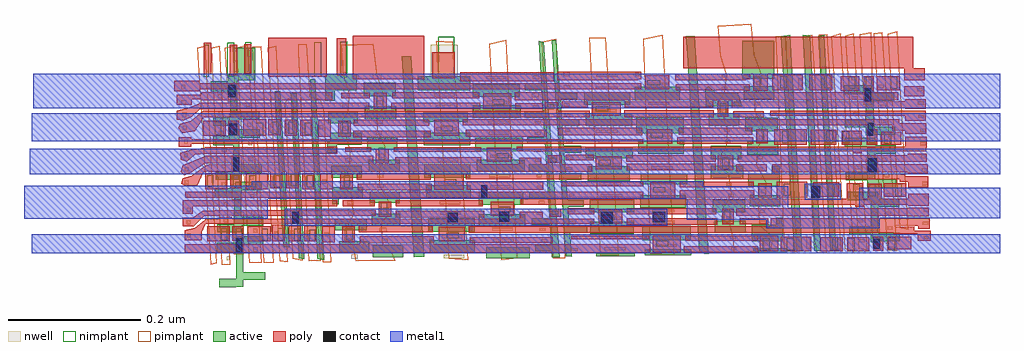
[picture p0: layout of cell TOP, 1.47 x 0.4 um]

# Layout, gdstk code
import gdstk
lib = gdstk.Library(unit=1e-6, precision=1e-09)
def R(c, l, rs):  # rectangles x0, y0, x1, y1
    for r in rs: c.add(gdstk.rectangle(r[:2], r[2:], *l))
def P(c, l, *ps):  # polygons
    for p in ps: c.add(gdstk.Polygon(p, *l))
active = (1, 0)
nwell = (2, 0)
poly = (3, 0)
nimplant = (4, 0)
pimplant = (5, 0)
contact = (6, 0)
metal1 = (7, 0)

top = lib.new_cell('TOP')
R(top, active, [(0.49,-0.391,0.516,-0.378), (0.516,-0.39,0.526,-0.338), (0.526,-0.38,0.559,-0.368), (0.892,-0.347,0.958,-0.331), (0.721,-0.346,0.767,-0.328), (1.058,-0.344,1.116,-0.34), (1.131,-0.343,1.201,-0.334), (0.807,-0.339,0.875,-0.32), (1.294,-0.339,1.345,-0.332), (0.486,-0.338,0.526,-0.324), (0.671,-0.338,0.716,-0.322), (0.966,-0.337,0.999,-0.327), (0.517,-0.327,0.556,-0.314), (1.471,-0.323,1.483,-0.26), (1.292,-0.322,1.339,-0.297), (1.48,-0.322,1.488,-0.316), (1.483,-0.322,1.515,-0.309), (1.127,-0.32,1.2,-0.298), (1.439,-0.311,1.471,-0.299), (1.049,-0.31,1.114,-0.292), (1.011,-0.309,1.044,-0.299), (1.236,-0.309,1.283,-0.291), (0.487,-0.308,0.513,-0.296), (0.513,-0.308,0.523,-0.256), (0.805,-0.307,0.875,-0.287), (0.664,-0.305,0.712,-0.288), (1.329,-0.301,1.338,-0.286), (0.523,-0.298,0.556,-0.285), (0.72,-0.298,0.763,-0.28), (0.881,-0.298,0.951,-0.281), (0.961,-0.297,0.994,-0.287), (1.048,-0.278,1.115,-0.259), (1.233,-0.278,1.282,-0.259), (1.124,-0.271,1.193,-0.252), (1.007,-0.27,1.039,-0.26), (1.483,-0.27,1.514,-0.258), (1.289,-0.269,1.335,-0.252), (0.881,-0.267,0.948,-0.247), (0.66,-0.266,0.67,-0.24), (0.717,-0.264,0.762,-0.247), (1.437,-0.26,1.483,-0.247), (0.663,-0.257,0.706,-0.24), (0.802,-0.257,0.869,-0.237), (0.957,-0.257,0.989,-0.247), (0.483,-0.256,0.523,-0.242), (0.514,-0.245,0.554,-0.232), (1.466,-0.242,1.478,-0.179), (1.478,-0.241,1.51,-0.228), (1.287,-0.239,1.334,-0.22), (1.125,-0.236,1.195,-0.22), (1.045,-0.231,1.108,-0.209), (1.434,-0.23,1.466,-0.218), (0.485,-0.229,0.511,-0.217), (0.511,-0.229,0.52,-0.177), (1.002,-0.229,1.035,-0.219), (1.23,-0.228,1.279,-0.208), (0.659,-0.226,0.705,-0.208), (0.799,-0.226,0.868,-0.206), (1.322,-0.223,1.334,-0.208), (0.52,-0.219,0.554,-0.206), (0.715,-0.217,0.762,-0.199), (0.878,-0.216,0.95,-0.199), (0.956,-0.216,0.989,-0.206), (1.23,-0.198,1.276,-0.178), (1.042,-0.197,1.113,-0.18), (1.285,-0.191,1.332,-0.171), (1.121,-0.19,1.19,-0.171), (1.478,-0.19,1.509,-0.177), (0.653,-0.188,0.667,-0.172), (1.002,-0.188,1.035,-0.178), (0.876,-0.186,0.947,-0.166), (0.713,-0.184,0.758,-0.166), (1.432,-0.179,1.478,-0.166), (0.481,-0.177,0.52,-0.163), (0.798,-0.177,0.868,-0.158), (0.657,-0.176,0.705,-0.158), (0.954,-0.175,0.987,-0.165), (0.511,-0.166,0.551,-0.153), (1.464,-0.162,1.476,-0.1), (1.476,-0.161,1.508,-0.149), (1.118,-0.159,1.19,-0.136), (1.282,-0.156,1.331,-0.136), (1.432,-0.15,1.464,-0.139), (0.481,-0.148,0.507,-0.136), (0.507,-0.148,0.517,-0.096), (1,-0.148,1.032,-0.138), (1.042,-0.148,1.112,-0.129), (1.227,-0.148,1.273,-0.129), (0.654,-0.144,0.699,-0.125), (0.797,-0.142,0.864,-0.127), (0.517,-0.138,0.55,-0.125), (0.709,-0.137,0.757,-0.118), (0.872,-0.136,0.944,-0.117), (0.95,-0.136,0.983,-0.126), (1.04,-0.116,1.109,-0.097), (0.65,-0.11,0.664,-0.07), (1.476,-0.11,1.507,-0.098), (1.116,-0.109,1.184,-0.089), (0.996,-0.108,1.029,-0.098), (1.28,-0.108,1.326,-0.088), (0.872,-0.104,0.943,-0.085), (0.708,-0.103,0.756,-0.083), (1.431,-0.1,1.476,-0.087), (0.477,-0.096,0.517,-0.081), (0.655,-0.094,0.697,-0.07), (0.789,-0.094,0.868,-0.073), (0.95,-0.094,0.982,-0.084), (0.504,-0.085,0.517,-0.071), (0.512,-0.079,0.544,-0.03), (1.278,-0.077,1.326,-0.02)])
P(top, active, [(0.586,-0.32),(0.574,-0.102),(0.574,-0.096),(0.582,-0.095),(0.595,-0.32)],
  [(0.587,-0.331),(0.586,-0.32),(0.595,-0.319),(0.596,-0.331)],
  [(0.618,-0.349),(0.61,-0.347),(0.598,-0.101),(0.597,-0.099),(0.607,-0.099)],
  [(0.648,-0.35),(0.638,-0.348),(0.627,-0.078),(0.635,-0.078)],
  [(0.783,-0.346),(0.765,-0.043),(0.779,-0.043),(0.799,-0.345)],
  [(0.991,-0.346),(0.971,-0.02),(0.979,-0.022),(1.003,-0.346)],
  [(1.021,-0.345),(1.012,-0.344),(0.991,-0.019),(0.998,-0.019)],
  [(1.227,-0.341),(1.213,-0.34),(1.195,-0.039),(1.193,-0.013),(1.206,-0.013)],
  [(1.356,-0.337),(1.336,-0.013),(1.35,-0.011),(1.368,-0.337)],
  [(1.386,-0.336),(1.369,-0.011),(1.38,-0.012),(1.396,-0.336)],
  [(1.41,-0.336),(1.392,-0.013),(1.401,-0.011),(1.419,-0.336)],
  [(1.223,-0.119),(1.222,-0.092),(1.224,-0.092),(1.224,-0.09),(1.227,-0.088),(1.238,-0.098),(1.271,-0.097),(1.278,-0.118)])
R(top, nwell, [(0.501,-0.35,0.507,-0.344), (0.689,-0.348,0.699,-0.341), (0.828,-0.347,0.859,-0.342), (1.132,-0.339,1.138,-0.335), (0.541,-0.338,0.548,-0.331), (1.191,-0.338,1.198,-0.334), (1.021,-0.336,1.03,-0.332), (1.07,-0.335,1.102,-0.331), (1.261,-0.335,1.269,-0.331), (1.294,-0.335,1.299,-0.33), (1.421,-0.335,1.427,-0.318), (1.499,-0.334,1.507,-0.33), (1.374,-0.333,1.38,-0.316), (1.147,-0.33,1.179,-0.326), (1.309,-0.328,1.317,-0.324), (0.703,-0.324,0.708,-0.319), (0.735,-0.324,0.744,-0.318), (0.806,-0.323,0.811,-0.318), (0.903,-0.323,0.934,-0.318), (0.975,-0.323,0.984,-0.319), (1.454,-0.323,1.462,-0.319), (0.868,-0.322,0.873,-0.317), (1.48,-0.322,1.487,-0.316), (0.498,-0.321,0.504,-0.315), (0.573,-0.319,0.579,-0.307), (0.597,-0.319,0.603,-0.306), (1.021,-0.319,1.029,-0.314), (1.192,-0.319,1.197,-0.314), (1.295,-0.319,1.3,-0.313), (0.621,-0.318,0.627,-0.306), (0.683,-0.318,0.693,-0.311), (1.07,-0.318,1.102,-0.314), (1.13,-0.318,1.135,-0.314), (1.26,-0.318,1.268,-0.313), (1.551,-0.318,1.559,-0.314), (0.825,-0.317,0.856,-0.312), (0.441,-0.316,0.447,-0.31), (0.649,-0.314,0.655,-0.308), (0.541,-0.309,0.547,-0.303), (0.732,-0.308,0.742,-0.301), (0.703,-0.306,0.707,-0.301), (0.867,-0.306,0.872,-0.301), (0.901,-0.306,0.932,-0.301), (0.973,-0.306,0.981,-0.302), (0.806,-0.305,0.811,-0.3), (1.496,-0.304,1.504,-0.299), (1.55,-0.297,1.558,-0.292), (0.441,-0.296,0.447,-0.29), (1.018,-0.296,1.027,-0.291), (1.048,-0.296,1.053,-0.291), (1.234,-0.296,1.24,-0.292), (1.11,-0.295,1.115,-0.29), (1.144,-0.295,1.176,-0.291), (1.279,-0.295,1.283,-0.291), (1.305,-0.295,1.314,-0.291), (1.33,-0.295,1.334,-0.29), (0.497,-0.293,0.503,-0.287), (1.452,-0.293,1.46,-0.289), (1.066,-0.289,1.098,-0.285), (1.254,-0.288,1.262,-0.284), (0.944,-0.286,0.949,-0.281), (0.882,-0.285,0.887,-0.281), (1,-0.285,1.005,-0.275), (0.684,-0.283,0.694,-0.277), (0.719,-0.283,0.724,-0.278), (0.538,-0.282,0.544,-0.276), (0.757,-0.282,0.761,-0.277), (0.823,-0.282,0.854,-0.277), (0.968,-0.282,0.977,-0.278), (1.494,-0.281,1.502,-0.277), (1.047,-0.279,1.052,-0.274), (1.276,-0.279,1.28,-0.275), (1.304,-0.279,1.312,-0.274), (1.017,-0.278,1.026,-0.274), (1.11,-0.278,1.115,-0.273), (1.142,-0.278,1.175,-0.274), (1.232,-0.278,1.238,-0.273), (0.441,-0.277,0.447,-0.271), (0.736,-0.277,0.746,-0.271), (0.9,-0.277,0.931,-0.272), (1.551,-0.277,1.559,-0.272), (1.451,-0.27,1.459,-0.266), (0.497,-0.269,0.503,-0.263), (0.683,-0.267,0.693,-0.261), (0.717,-0.267,0.722,-0.262), (0.66,-0.266,0.666,-0.26), (0.822,-0.266,0.853,-0.261), (0.971,-0.266,0.98,-0.261), (0.757,-0.265,0.761,-0.26), (0.881,-0.265,0.886,-0.26), (0.943,-0.265,0.948,-0.26), (0.537,-0.257,0.543,-0.251), (1.551,-0.257,1.559,-0.253), (0.441,-0.256,0.447,-0.25), (1.124,-0.256,1.129,-0.251), (1.29,-0.256,1.296,-0.251), (1.065,-0.255,1.097,-0.251), (1.187,-0.255,1.192,-0.25), (1.257,-0.255,1.265,-0.25), (1.017,-0.254,1.025,-0.25), (1.417,-0.253,1.423,-0.236), (1.493,-0.253,1.501,-0.249), (1.371,-0.252,1.377,-0.235), (1.306,-0.249,1.314,-0.244), (1.143,-0.248,1.176,-0.244), (0.699,-0.245,0.707,-0.24), (0.801,-0.244,0.809,-0.238), (0.863,-0.244,0.868,-0.239), (1.45,-0.243,1.458,-0.238), (0.898,-0.242,0.928,-0.237), (0.968,-0.242,0.977,-0.238), (1.477,-0.242,1.484,-0.236), (0.728,-0.241,0.738,-0.235), (0.494,-0.239,0.5,-0.233), (1.015,-0.238,1.024,-0.234), (1.254,-0.238,1.262,-0.234), (1.288,-0.238,1.293,-0.232), (0.57,-0.237,0.576,-0.224), (0.593,-0.237,0.599,-0.224), (0.615,-0.237,0.621,-0.224), (0.678,-0.237,0.688,-0.23), (1.063,-0.237,1.095,-0.233), (1.549,-0.237,1.557,-0.232), (0.438,-0.236,0.444,-0.23), (0.82,-0.236,0.851,-0.231), (1.124,-0.236,1.129,-0.233), (1.186,-0.236,1.191,-0.233), (0.645,-0.235,0.651,-0.228), (0.536,-0.229,0.542,-0.223), (0.51,-0.227,0.518,-0.221), (0.698,-0.227,0.705,-0.22), (0.799,-0.227,0.806,-0.22), (0.728,-0.226,0.737,-0.22), (0.897,-0.226,0.928,-0.221), (0.861,-0.225,0.866,-0.22), (0.968,-0.225,0.976,-0.221), (1.491,-0.225,1.499,-0.22), (1.548,-0.217,1.556,-0.212), (0.438,-0.216,0.444,-0.21), (1.044,-0.215,1.05,-0.21), (1.105,-0.215,1.112,-0.211), (1.23,-0.215,1.237,-0.21), (1.325,-0.215,1.332,-0.211), (1.013,-0.214,1.022,-0.21), (1.27,-0.214,1.277,-0.211), (1.301,-0.214,1.309,-0.21), (1.141,-0.213,1.173,-0.209), (1.448,-0.213,1.457,-0.208), (0.494,-0.212,0.5,-0.206), (1.06,-0.208,1.093,-0.204), (1.251,-0.207,1.259,-0.202), (0.943,-0.205,0.948,-0.2), (0.714,-0.204,0.72,-0.198), (0.755,-0.204,0.761,-0.199), (0.88,-0.204,0.885,-0.199), (0.994,-0.203,0.999,-0.193), (0.68,-0.202,0.69,-0.196), (0.819,-0.202,0.85,-0.197), (0.965,-0.202,0.974,-0.198), (0.534,-0.201,0.541,-0.195), (1.488,-0.201,1.496,-0.196), (1.014,-0.198,1.023,-0.194), (1.139,-0.198,1.172,-0.194), (1.301,-0.198,1.309,-0.193), (1.045,-0.197,1.052,-0.192), (1.105,-0.197,1.111,-0.193), (1.234,-0.197,1.238,-0.193), (1.547,-0.197,1.555,-0.192), (0.732,-0.196,0.741,-0.19), (0.898,-0.196,0.928,-0.191), (1.271,-0.196,1.278,-0.193), (0.437,-0.195,0.443,-0.189), (1.447,-0.189,1.455,-0.185), (0.494,-0.187,0.501,-0.181), (0.68,-0.187,0.69,-0.181), (0.712,-0.186,0.717,-0.181), (0.754,-0.186,0.76,-0.181), (0.818,-0.186,0.849,-0.181), (0.966,-0.186,0.975,-0.182), (0.655,-0.185,0.662,-0.18), (0.879,-0.185,0.885,-0.18), (0.938,-0.185,0.946,-0.18), (0.534,-0.177,0.54,-0.17), (1.546,-0.177,1.554,-0.172), (1.184,-0.176,1.191,-0.169), (1.286,-0.176,1.292,-0.17), (0.437,-0.175,0.443,-0.169), (1.061,-0.174,1.093,-0.17), (1.121,-0.174,1.126,-0.169), (1.252,-0.174,1.26,-0.169), (1.013,-0.173,1.022,-0.168), (1.489,-0.173,1.497,-0.168), (1.366,-0.172,1.372,-0.155), (1.414,-0.172,1.42,-0.155), (1.303,-0.168,1.312,-0.163), (1.138,-0.167,1.17,-0.163), (0.694,-0.164,0.705,-0.158), (0.798,-0.164,0.806,-0.157), (0.862,-0.163,0.866,-0.158), (1.472,-0.162,1.481,-0.154), (0.489,-0.161,0.496,-0.155), (0.726,-0.161,0.735,-0.155), (0.896,-0.161,0.927,-0.156), (0.965,-0.161,0.974,-0.157), (1.446,-0.16,1.454,-0.155), (0.566,-0.158,0.572,-0.145), (0.59,-0.158,0.596,-0.145), (0.614,-0.158,0.62,-0.146), (1.057,-0.158,1.09,-0.154), (1.011,-0.157,1.019,-0.153), (1.181,-0.157,1.188,-0.152), (1.251,-0.157,1.259,-0.153), (1.546,-0.157,1.554,-0.152), (1.119,-0.156,1.127,-0.151), (1.285,-0.156,1.292,-0.151), (0.676,-0.155,0.686,-0.148), (0.817,-0.155,0.848,-0.15), (0.435,-0.154,0.441,-0.148), (0.641,-0.153,0.647,-0.147), (0.532,-0.149,0.538,-0.143), (0.726,-0.145,0.736,-0.139), (0.895,-0.145,0.926,-0.14), (0.965,-0.145,0.974,-0.141), (0.694,-0.144,0.699,-0.139), (1.487,-0.144,1.495,-0.139), (0.798,-0.143,0.804,-0.138), (0.858,-0.143,0.864,-0.139), (1.543,-0.136,1.552,-0.132), (0.434,-0.135,0.44,-0.128), (1.102,-0.135,1.109,-0.13), (1.266,-0.135,1.271,-0.129), (1.01,-0.134,1.019,-0.13), (1.04,-0.133,1.045,-0.128), (1.137,-0.133,1.169,-0.129), (1.298,-0.133,1.306,-0.128), (1.323,-0.133,1.332,-0.128), (0.489,-0.132,0.495,-0.126), (1.446,-0.132,1.454,-0.127), (1.246,-0.128,1.255,-0.123), (1.055,-0.127,1.088,-0.123), (0.988,-0.123,0.993,-0.114), (0.709,-0.122,0.715,-0.116), (0.752,-0.122,0.756,-0.118), (0.874,-0.122,0.88,-0.118), (0.936,-0.122,0.944,-0.118), (0.675,-0.121,0.685,-0.115), (0.816,-0.121,0.847,-0.116), (0.962,-0.121,0.971,-0.117), (1.486,-0.121,1.494,-0.116), (0.53,-0.119,0.537,-0.113), (1.009,-0.118,1.018,-0.114), (1.265,-0.117,1.273,-0.112), (1.297,-0.117,1.305,-0.112), (1.039,-0.116,1.044,-0.111), (1.101,-0.116,1.108,-0.112), (1.136,-0.116,1.168,-0.112), (1.542,-0.116,1.551,-0.111), (0.433,-0.115,0.44,-0.109), (0.726,-0.115,0.736,-0.109), (0.893,-0.115,0.924,-0.11), (1.443,-0.108,1.452,-0.103), (0.488,-0.106,0.494,-0.1), (0.937,-0.105,0.942,-0.099), (0.961,-0.105,0.971,-0.098), (0.675,-0.104,0.684,-0.098), (0.814,-0.104,0.845,-0.099), (0.874,-0.104,0.88,-0.1), (0.651,-0.103,0.656,-0.098), (0.709,-0.102,0.713,-0.098), (0.751,-0.102,0.755,-0.098), (1.541,-0.096,1.55,-0.091), (1.178,-0.095,1.185,-0.09), (1.281,-0.094,1.288,-0.09), (0.433,-0.093,0.439,-0.086), (0.53,-0.093,0.536,-0.087), (1.009,-0.093,1.019,-0.087), (1.057,-0.093,1.09,-0.089), (1.116,-0.093,1.122,-0.089), (1.247,-0.093,1.255,-0.089), (1.362,-0.093,1.368,-0.076), (1.41,-0.091,1.416,-0.074), (1.483,-0.091,1.491,-0.086), (1.134,-0.086,1.167,-0.083), (1.299,-0.086,1.307,-0.081), (0.859,-0.081,0.866,-0.075), (0.794,-0.079,0.803,-0.074), (1.442,-0.079,1.45,-0.074), (1.468,-0.079,1.475,-0.074), (0.692,-0.078,0.7,-0.071), (0.721,-0.078,0.734,-0.07), (0.892,-0.078,0.922,-0.073), (0.962,-0.078,0.972,-0.072), (1.28,-0.077,1.289,-0.071), (1.247,-0.075,1.255,-0.071), (1.058,-0.074,1.09,-0.07), (1.178,-0.074,1.183,-0.07), (1.54,-0.074,1.548,-0.069), (1.008,-0.073,1.018,-0.067), (1.117,-0.073,1.123,-0.068), (0.809,-0.072,0.849,-0.026), (0.674,-0.068,0.682,-0.026)])
R(top, poly, [(0.438,-0.339,1.139,-0.326), (1.143,-0.338,1.185,-0.313), (1.19,-0.338,1.302,-0.329), (1.304,-0.337,1.332,-0.313), (1.336,-0.337,1.382,-0.315), (1.395,-0.337,1.429,-0.316), (1.436,-0.337,1.469,-0.316), (1.475,-0.336,1.49,-0.315), (1.497,-0.334,1.532,-0.315), (0.702,-0.325,0.813,-0.314), (0.867,-0.324,0.992,-0.316), (0.645,-0.323,0.664,-0.299), (0.675,-0.323,0.694,-0.299), (0.472,-0.322,0.506,-0.299), (0.533,-0.322,0.568,-0.299), (0.57,-0.322,0.589,-0.297), (0.595,-0.322,0.613,-0.298), (0.618,-0.322,0.636,-0.298), (0.821,-0.322,0.86,-0.3), (0.51,-0.321,0.526,-0.299), (1.192,-0.321,1.302,-0.313), (1.542,-0.321,1.562,-0.306), (0.438,-0.32,0.464,-0.305), (1.02,-0.319,1.138,-0.313), (1.506,-0.31,1.537,-0.3), (1.537,-0.31,1.547,-0.306), (0.866,-0.309,1.508,-0.299), (0.7,-0.308,0.812,-0.298), (1.543,-0.303,1.56,-0.288), (0.435,-0.299,0.451,-0.286), (1.321,-0.298,1.559,-0.287), (1.104,-0.297,1.24,-0.287), (1.248,-0.296,1.265,-0.273), (1.274,-0.296,1.317,-0.287), (0.469,-0.295,1.055,-0.288), (1.062,-0.295,1.097,-0.274), (0.491,-0.292,0.509,-0.285), (0.943,-0.287,0.977,-0.277), (0.756,-0.286,0.889,-0.276), (0.73,-0.285,0.749,-0.262), (0.988,-0.285,1.005,-0.273), (1.528,-0.284,1.559,-0.271), (0.483,-0.283,0.726,-0.275), (0.899,-0.283,0.934,-0.262), (1.269,-0.283,1.277,-0.272), (1.275,-0.283,1.529,-0.272), (1.015,-0.281,1.055,-0.272), (1.104,-0.281,1.239,-0.272), (0.435,-0.28,0.45,-0.26), (1.448,-0.27,1.461,-0.263), (0.448,-0.269,0.484,-0.26), (0.482,-0.269,0.668,-0.26), (0.676,-0.269,0.724,-0.26), (0.756,-0.269,0.887,-0.26), (1.528,-0.268,1.559,-0.25), (0.944,-0.267,1.541,-0.258), (1.435,-0.257,1.459,-0.234), (1.467,-0.257,1.488,-0.235), (0.439,-0.256,1.129,-0.247), (1.139,-0.256,1.177,-0.233), (1.184,-0.256,1.296,-0.245), (1.302,-0.256,1.322,-0.234), (1.33,-0.256,1.376,-0.232), (1.385,-0.255,1.424,-0.233), (1.491,-0.255,1.525,-0.234), (0.699,-0.245,0.81,-0.235), (0.814,-0.244,0.858,-0.22), (0.863,-0.244,0.978,-0.232), (0.469,-0.243,0.502,-0.219), (0.53,-0.243,0.563,-0.219), (0.615,-0.243,0.633,-0.219), (0.642,-0.243,0.661,-0.219), (0.672,-0.243,0.691,-0.219), (0.507,-0.242,0.523,-0.22), (0.567,-0.242,0.585,-0.218), (0.591,-0.242,0.61,-0.218), (1.184,-0.24,1.295,-0.232), (1.528,-0.24,1.558,-0.224), (1.005,-0.239,1.129,-0.232), (1.515,-0.232,1.523,-0.221), (1.523,-0.232,1.528,-0.224), (0.697,-0.229,0.809,-0.219), (0.861,-0.228,1.516,-0.22), (1.527,-0.219,1.557,-0.206), (1.323,-0.218,1.557,-0.206), (0.475,-0.217,1.052,-0.206), (1.269,-0.216,1.315,-0.206), (1.104,-0.215,1.238,-0.205), (1.241,-0.215,1.264,-0.192), (1.057,-0.213,1.096,-0.194), (0.942,-0.205,0.975,-0.196), (0.468,-0.204,0.722,-0.193), (0.726,-0.204,0.745,-0.182), (0.755,-0.204,0.885,-0.195), (0.985,-0.204,1.006,-0.192), (0.893,-0.202,0.93,-0.181), (1.103,-0.202,1.238,-0.192), (1.271,-0.202,1.556,-0.192), (1.527,-0.202,1.556,-0.19), (1.012,-0.2,1.054,-0.191), (0.468,-0.19,0.662,-0.18), (0.653,-0.19,0.668,-0.179), (1.445,-0.189,1.458,-0.182), (0.68,-0.187,0.719,-0.18), (0.753,-0.187,0.885,-0.18), (0.964,-0.187,0.977,-0.181), (0.938,-0.186,1.555,-0.179), (1.523,-0.181,1.556,-0.164), (0.429,-0.179,0.448,-0.165), (1.326,-0.176,1.375,-0.153), (1.381,-0.176,1.419,-0.154), (1.428,-0.176,1.458,-0.155), (1.465,-0.176,1.481,-0.153), (1.487,-0.176,1.517,-0.157), (0.435,-0.175,1.129,-0.168), (1.135,-0.175,1.172,-0.153), (1.18,-0.175,1.294,-0.165), (1.299,-0.174,1.316,-0.153), (0.692,-0.165,0.809,-0.155), (0.639,-0.164,0.658,-0.139), (0.669,-0.164,0.688,-0.14), (0.861,-0.164,0.983,-0.154), (0.466,-0.163,0.5,-0.14), (0.526,-0.163,0.561,-0.138), (0.589,-0.163,0.607,-0.139), (0.612,-0.163,0.63,-0.139), (0.814,-0.163,0.851,-0.139), (0.504,-0.162,0.52,-0.14), (0.564,-0.162,0.583,-0.138), (1.001,-0.162,1.127,-0.151), (1.182,-0.161,1.293,-0.151), (1.523,-0.16,1.555,-0.144), (1.504,-0.155,1.514,-0.147), (1.514,-0.155,1.523,-0.144), (0.693,-0.148,0.806,-0.139), (0.857,-0.147,1.514,-0.138), (1.523,-0.14,1.554,-0.126), (0.466,-0.135,1.048,-0.125), (1.1,-0.135,1.235,-0.124), (1.264,-0.135,1.31,-0.126), (1.241,-0.134,1.257,-0.111), (1.051,-0.133,1.095,-0.112), (1.32,-0.133,1.554,-0.125), (0.98,-0.124,1,-0.112), (0.46,-0.123,0.716,-0.113), (0.723,-0.123,0.742,-0.098), (0.749,-0.123,0.883,-0.113), (0.888,-0.123,0.93,-0.099), (0.936,-0.123,0.977,-0.114), (1.523,-0.122,1.554,-0.108), (1.262,-0.121,1.542,-0.111), (1.006,-0.12,1.045,-0.111), (1.101,-0.12,1.234,-0.111), (1.224,-0.118,1.231,-0.111), (1.102,-0.117,1.11,-0.111), (0.426,-0.116,0.449,-0.102), (0.463,-0.109,0.66,-0.097), (0.935,-0.109,1.513,-0.097), (0.426,-0.108,0.465,-0.101), (0.674,-0.106,0.717,-0.098), (0.751,-0.106,0.882,-0.097), (1.522,-0.103,1.552,-0.088), (0.422,-0.096,0.46,-0.08), (1.281,-0.095,1.289,-0.085), (1.294,-0.095,1.316,-0.069), (1.426,-0.095,1.454,-0.073), (1.461,-0.095,1.476,-0.073), (1.178,-0.094,1.283,-0.085), (1.323,-0.094,1.369,-0.071), (1.379,-0.094,1.413,-0.071), (1.48,-0.094,1.515,-0.073), (0.438,-0.093,1.119,-0.084), (1.114,-0.093,1.126,-0.084), (1.132,-0.093,1.168,-0.072), (0.853,-0.081,0.994,-0.067), (0.999,-0.079,1.121,-0.066), (1.177,-0.079,1.283,-0.069), (1.522,-0.079,1.553,-0.061), (0.691,-0.078,0.799,-0.012), (1.119,-0.078,1.126,-0.066), (1.281,-0.078,1.29,-0.07), (0.811,-0.076,0.845,-0.037), (0.564,-0.074,0.652,-0.015), (0.506,-0.072,0.517,-0.026), (0.667,-0.072,0.681,-0.016), (0.467,-0.07,0.478,-0.023), (0.528,-0.069,0.538,-0.025), (1.189,-0.061,1.535,-0.014)])
P(top, poly, [(0.436,-0.14),(0.426,-0.139),(0.426,-0.125),(0.446,-0.12),(0.461,-0.114),(0.461,-0.123),(0.449,-0.134)],
  [(0.434,-0.159),(0.428,-0.151),(0.431,-0.145),(0.448,-0.14),(0.466,-0.125),(0.467,-0.135),(0.453,-0.156)],
  [(0.441,-0.202),(0.432,-0.199),(0.431,-0.188),(0.45,-0.183),(0.469,-0.181),(0.47,-0.19),(0.453,-0.191)],
  [(0.437,-0.222),(0.432,-0.217),(0.435,-0.207),(0.468,-0.194),(0.469,-0.204),(0.446,-0.219)],
  [(0.44,-0.239),(0.433,-0.235),(0.435,-0.227),(0.449,-0.223),(0.469,-0.208),(0.476,-0.206),(0.476,-0.216),(0.466,-0.218),(0.457,-0.238)],
  [(0.464,-0.308),(0.438,-0.305),(0.454,-0.301),(0.469,-0.289),(0.469,-0.296)],
  [(0.451,-0.3),(0.45,-0.286),(0.465,-0.276),(0.483,-0.275),(0.483,-0.283),(0.467,-0.284)])
R(top, nimplant, [(1.309,-0.335,1.319,-0.317), (1.345,-0.335,1.355,-0.317), (1.413,-0.335,1.422,-0.316), (1.437,-0.335,1.447,-0.317), (1.498,-0.335,1.508,-0.316), (1.475,-0.334,1.485,-0.316), (1.148,-0.329,1.166,-0.321), (0.626,-0.322,0.635,-0.304), (0.515,-0.321,0.525,-0.302), (0.554,-0.321,0.563,-0.303), (0.578,-0.321,0.588,-0.302), (0.603,-0.321,0.612,-0.303), (0.493,-0.32,0.502,-0.302), (0.681,-0.32,0.691,-0.302), (0.833,-0.317,0.851,-0.309), (1.25,-0.293,1.26,-0.275), (1.067,-0.29,1.085,-0.282), (0.733,-0.282,0.743,-0.264), (0.991,-0.282,1.001,-0.276), (0.91,-0.278,0.928,-0.27), (1.303,-0.254,1.313,-0.235), (1.407,-0.254,1.416,-0.236), (1.445,-0.254,1.455,-0.236), (1.469,-0.254,1.479,-0.236), (1.508,-0.254,1.518,-0.235), (1.34,-0.253,1.35,-0.235), (1.144,-0.248,1.162,-0.24), (0.472,-0.24,0.481,-0.222), (0.511,-0.24,0.521,-0.222), (0.535,-0.24,0.545,-0.222), (0.572,-0.24,0.582,-0.222), (0.622,-0.24,0.632,-0.222), (0.678,-0.24,0.687,-0.222), (0.598,-0.239,0.607,-0.221), (0.829,-0.236,0.847,-0.228), (1.248,-0.213,1.258,-0.195), (1.062,-0.207,1.08,-0.199), (0.988,-0.203,0.998,-0.196), (0.73,-0.199,0.739,-0.181), (0.908,-0.197,0.926,-0.189), (1.492,-0.175,1.502,-0.157), (1.338,-0.174,1.348,-0.155), (1.404,-0.174,1.414,-0.155), (1.429,-0.174,1.439,-0.156), (1.469,-0.174,1.478,-0.155), (1.3,-0.173,1.31,-0.155), (1.14,-0.166,1.158,-0.158), (0.483,-0.161,0.493,-0.142), (0.507,-0.161,0.517,-0.143), (0.546,-0.161,0.556,-0.143), (0.619,-0.161,0.629,-0.143), (0.57,-0.16,0.58,-0.142), (0.594,-0.16,0.604,-0.142), (0.675,-0.16,0.684,-0.142), (0.824,-0.156,0.842,-0.148), (1.244,-0.132,1.254,-0.114), (1.057,-0.126,1.076,-0.118), (0.984,-0.122,0.995,-0.115), (0.727,-0.121,0.737,-0.103), (0.901,-0.116,0.919,-0.108), (1.295,-0.093,1.305,-0.074), (1.438,-0.092,1.448,-0.074), (1.464,-0.092,1.473,-0.074), (1.501,-0.092,1.511,-0.074), (1.335,-0.091,1.345,-0.073), (1.401,-0.091,1.411,-0.072), (1.135,-0.087,1.154,-0.079), (0.672,-0.075,0.683,-0.021), (0.467,-0.074,0.474,-0.026), (0.502,-0.074,0.513,-0.023), (0.633,-0.074,0.644,-0.022), (0.529,-0.072,0.538,-0.022), (0.82,-0.07,0.844,-0.014)])
R(top, pimplant, [(0.512,-0.341,0.527,-0.278), (0.509,-0.259,0.524,-0.192), (0.505,-0.171,0.52,-0.13)])
P(top, pimplant, [(0.477,-0.357),(0.457,-0.03),(0.469,-0.027),(0.486,-0.355)],
  [(0.494,-0.357),(0.478,-0.03),(0.491,-0.027),(0.507,-0.357)],
  [(0.535,-0.354),(0.516,-0.03),(0.533,-0.026),(0.554,-0.354)],
  [(0.557,-0.354),(0.54,-0.029),(0.553,-0.028),(0.572,-0.354)],
  [(0.616,-0.351),(0.601,-0.348),(0.589,-0.113),(0.593,-0.107),(0.601,-0.107)],
  [(0.593,-0.353),(0.581,-0.352),(0.563,-0.03),(0.576,-0.027)],
  [(0.646,-0.353),(0.634,-0.134),(0.628,-0.134),(0.643,-0.351),(0.625,-0.352),(0.609,-0.038),(0.609,-0.025),(0.622,-0.025),(0.627,-0.104),(0.642,-0.108),(0.648,-0.126),(0.659,-0.353)],
  [(0.696,-0.352),(0.691,-0.328),(0.679,-0.321),(0.679,-0.304),(0.684,-0.297),(0.692,-0.281),(0.688,-0.249),(0.676,-0.241),(0.678,-0.219),(0.686,-0.209),(0.687,-0.186),(0.681,-0.165),(0.673,-0.164),(0.672,-0.145),(0.683,-0.128),(0.686,-0.101),(0.677,-0.072),(0.673,-0.026),(0.722,-0.024),(0.728,-0.072),(0.738,-0.101),(0.738,-0.122),(0.728,-0.129),(0.729,-0.155),(0.74,-0.179),(0.74,-0.199),(0.732,-0.212),(0.732,-0.237),(0.746,-0.263),(0.745,-0.282),(0.734,-0.294),(0.737,-0.328),(0.751,-0.34),(0.755,-0.351)],
  [(1.264,-0.322),(1.259,-0.297),(1.247,-0.291),(1.248,-0.273),(1.253,-0.266),(1.261,-0.25),(1.257,-0.219),(1.244,-0.211),(1.246,-0.189),(1.254,-0.179),(1.255,-0.155),(1.249,-0.135),(1.241,-0.134),(1.24,-0.114),(1.251,-0.098),(1.254,-0.071),(1.245,-0.042),(1.241,0.003),(1.291,0.006),(1.296,-0.041),(1.307,-0.071),(1.306,-0.091),(1.296,-0.099),(1.297,-0.125),(1.308,-0.149),(1.309,-0.169),(1.301,-0.181),(1.3,-0.207),(1.314,-0.233),(1.313,-0.252),(1.302,-0.264),(1.305,-0.298),(1.319,-0.31),(1.324,-0.321)],
  [(1.265,-0.339),(1.264,-0.319),(1.324,-0.321),(1.32,-0.337)],
  [(0.865,-0.35),(0.836,-0.348),(0.817,-0.02),(0.842,-0.021)],
  [(0.915,-0.35),(0.897,-0.024),(0.922,-0.018),(0.939,-0.347)],
  [(0.992,-0.347),(0.976,-0.021),(0.998,-0.017),(1.011,-0.347)],
  [(1.064,-0.343),(1.047,-0.015),(1.072,-0.015),(1.092,-0.343)],
  [(1.175,-0.343),(1.139,-0.341),(1.129,-0.017),(1.158,-0.011)],
  [(1.361,-0.338),(1.341,-0.337),(1.328,-0.013),(1.343,-0.013)],
  [(1.41,-0.334),(1.393,-0.011),(1.406,-0.01),(1.427,-0.334)],
  [(1.446,-0.338),(1.432,-0.333),(1.412,-0.013),(1.426,-0.008)],
  [(1.466,-0.335),(1.453,-0.333),(1.433,-0.012),(1.446,-0.008)],
  [(1.475,-0.117),(1.461,-0.116),(1.455,-0.01),(1.472,-0.007)],
  [(1.466,-0.175),(1.463,-0.131),(1.467,-0.128),(1.476,-0.128),(1.479,-0.175)],
  [(1.478,-0.266),(1.468,-0.256),(1.464,-0.199),(1.47,-0.191),(1.481,-0.194),(1.486,-0.26)],
  [(1.475,-0.334),(1.471,-0.281),(1.474,-0.276),(1.483,-0.279),(1.487,-0.334)],
  [(1.528,-0.304),(1.515,-0.301),(1.497,-0.009),(1.511,-0.005)],
  [(0.504,-0.112),(0.498,-0.03),(0.511,-0.027),(0.515,-0.111)],
  [(1.39,-0.339),(1.387,-0.321),(1.369,-0.012),(1.383,-0.011),(1.405,-0.339)],
  [(1.511,-0.337),(1.496,-0.335),(1.476,-0.008),(1.489,-0.007)])
R(top, contact, [(0.515,-0.338,0.525,-0.317), (1.475,-0.333,1.485,-0.318), (0.6,-0.295,0.61,-0.277), (1.065,-0.295,1.083,-0.277), (0.834,-0.293,0.849,-0.279), (1.143,-0.293,1.162,-0.277), (0.912,-0.292,0.927,-0.277), (0.885,-0.257,0.894,-0.237), (1.382,-0.256,1.395,-0.238), (1.467,-0.218,1.48,-0.197), (0.511,-0.216,0.52,-0.195), (1.467,-0.163,1.475,-0.143), (0.505,-0.162,0.517,-0.145), (1.462,-0.111,1.472,-0.091), (0.504,-0.105,0.515,-0.086)])
R(top, metal1, [(0.208,-0.34,1.666,-0.311), (1.314,-0.302,1.485,-0.271), (0.589,-0.298,1.165,-0.273), (1.194,-0.289,1.347,-0.239), (0.196,-0.288,0.563,-0.238), (1.454,-0.287,1.666,-0.241), (1.372,-0.259,1.426,-0.235), (0.539,-0.258,1.219,-0.231), (0.205,-0.221,1.666,-0.182), (0.208,-0.171,1.666,-0.129), (0.21,-0.121,1.666,-0.069)])

lib.write_gds('TOP.gds')
